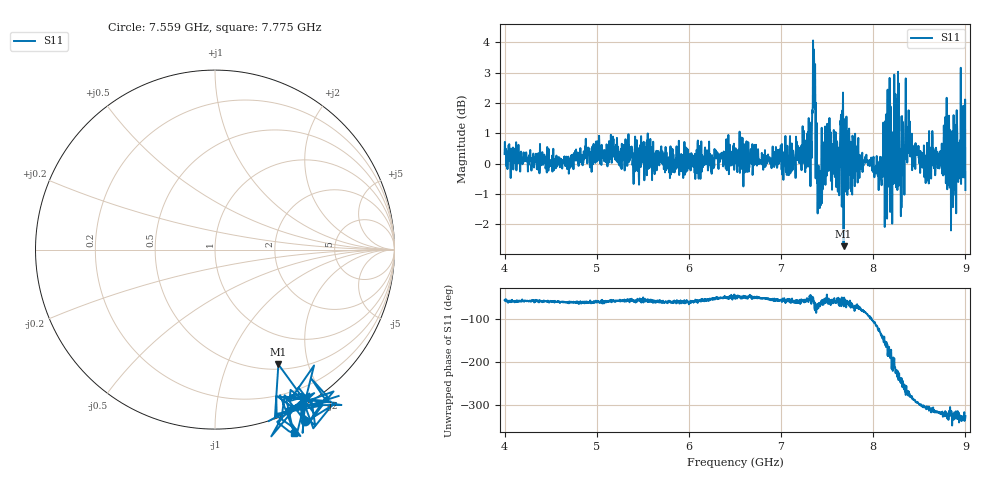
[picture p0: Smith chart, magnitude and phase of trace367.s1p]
! Created with skrf 1.8.0 (http://scikit-rf.org).
# Hz S RI R 50.0
!freq ReS11 ImS11
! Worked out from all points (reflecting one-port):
!   1601 points, 4 GHz to 9 GHz, reference 50 ohm
!   lowest |S11| = -2.7 dB at 7.678 GHz (marker M1), VSWR 6.43, Z = 28.2 - j77.3 ohm
!   phase of S11 starts at -55 deg and turns -271 deg over the sweep
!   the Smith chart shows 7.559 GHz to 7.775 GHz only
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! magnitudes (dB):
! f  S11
! 4 GHz  0.3
! 4.625 GHz  -0.2
! 5.25 GHz  0.0
! 5.875 GHz  0.2
! 6.5 GHz  0.2
! 7.125 GHz  -0.2
! 7.306 GHz  -0.1
! 7.347 GHz  4.1
! 7.366 GHz  1.8
! 7.397 GHz  -1.6
! 7.419 GHz  -1.5
! 7.512 GHz  0.5
! 7.609 GHz  0.7
! 7.65 GHz  1.6
! 7.678 GHz  -2.7
! 7.75 GHz  0.0
! 8.081 GHz  -0.1
! 8.153 GHz  0.9
! 8.197 GHz  -0.5
! 8.253 GHz  0.8
! 8.312 GHz  1.6
! 8.334 GHz  0.6
! 8.375 GHz  0.9
! 8.556 GHz  -0.4
! 8.816 GHz  -0.7
! 8.869 GHz  -0.6
! 8.972 GHz  1.0
! 9 GHz  -0.9
